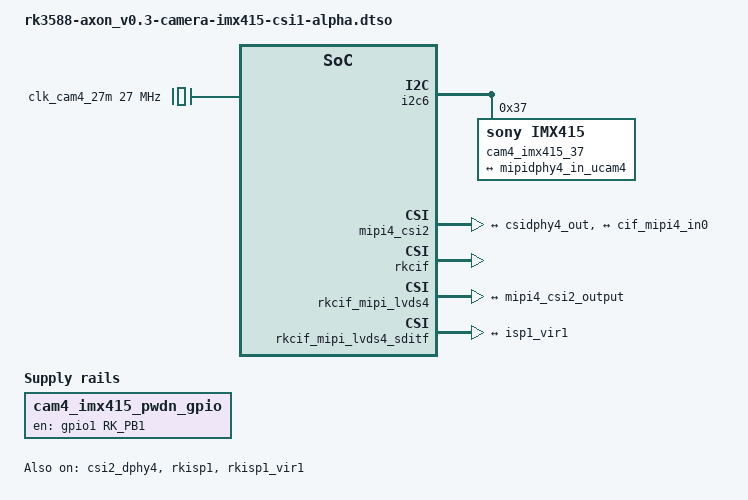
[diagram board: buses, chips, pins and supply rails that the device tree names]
// SPDX-License-Identifier: GPL-2.0+
// Copyright (C) 2026 Vicharak Computers PVT LTD

/dts-v1/;
/plugin/;

#include <dt-bindings/gpio/gpio.h>
#include <dt-bindings/pinctrl/rockchip.h>

&{/} {
	metadata {
		title = "Enable 8.3MP Camera (IMX415) on CSI1 Alpha Axon V0.3";
		compatible = "vicharak,rk3588-axon", "rockchip,rk3588";
		category = "camera";
		exclusive = "cam4", "imx415_6_37", "csi2_dphy4", "mipi4_csi2", \
			    "rkcif_mipi_lvds4", "rkcif_mipi_lvds4_sditf", \
			    "rkisp1_vir1";
		description = "Enables IMX415 based 8.3MP Camera on
\t\tVicharak Axon at I2C 6 bus address 37 on dphy4";
	};

	cam4_imx415_pwdn_gpio: cam4-pwdn-gpio {
		status = "okay";
		compatible = "regulator-fixed";
		regulator-name = "cam4_pwdn_gpio";
		regulator-always-on;
		regulator-boot-on;
		enable-active-high;
		gpio = <&gpio1 RK_PB1 GPIO_ACTIVE_HIGH>;
		pinctrl-names = "default";
		pinctrl-0 = <&cam4_pwdn_gpio>;
	};

	clk_cam4_27m: external-cam4-clock-27m {
		status = "okay";
		compatible = "fixed-clock";
		clock-frequency = <27000000>;
		clock-output-names = "clk_cam4_27m";
		#clock-cells = <0>;
	};
};

&i2c6 {
	status = "okay";
	#address-cells = <1>;
	#size-cells = <0>;
	
	cam4_imx415_37: cam4-imx415@37 {
		status = "okay";
		compatible = "sony,imx415";
		reg = <0x37>;

		clocks = <&clk_cam4_27m>;
		clock-names = "xvclk";

		rockchip,camera-module-index = <4>;
		rockchip,camera-module-facing = "front";
		rockchip,camera-module-name = "default";
		rockchip,camera-module-lens-name = "default";

		port {
			cam4_imx415_out0: endpoint {
				remote-endpoint = <&mipidphy4_in_ucam4>;
				data-lanes = <1 2>;
			};
		};
	};
};

&csi2_dphy4 {
	status = "okay";

	ports {
		#address-cells = <1>;
		#size-cells = <0>;

		port@0 {
			reg = <0>;
			#address-cells = <1>;
			#size-cells = <0>;

			mipidphy4_in_ucam4: endpoint@1 {
				reg = <1>;
				remote-endpoint = <&cam4_imx415_out0>;
				data-lanes = <1 2>;
			};
		};

		port@1 {
			reg = <1>;
			#address-cells = <1>;
			#size-cells = <0>;

			csidphy4_out: endpoint@0 {
				reg = <0>;
				remote-endpoint = <&mipi4_csi2_input>;
			};
		};
	};
};

&mipi4_csi2 {
	status = "okay";

	ports {
		#address-cells = <1>;
		#size-cells = <0>;

		port@0 {
			reg = <0>;
			#address-cells = <1>;
			#size-cells = <0>;

			mipi4_csi2_input: endpoint@1 {
				reg = <1>;
				remote-endpoint = <&csidphy4_out>;
			};
		};

		port@1 {
			reg = <1>;
			#address-cells = <1>;
			#size-cells = <0>;

			mipi4_csi2_output: endpoint@0 {
				reg = <0>;
				remote-endpoint = <&cif_mipi4_in0>;
			};
		};
	};
};

&rkcif {
	status = "okay";
};

&rkcif_mipi_lvds4 {
	status = "okay";

	port {
		cif_mipi4_in0: endpoint {
			remote-endpoint = <&mipi4_csi2_output>;
		};
	};
};

&rkcif_mipi_lvds4_sditf {
	status = "okay";

	port {
		mipi_lvds4_sditf: endpoint {
			remote-endpoint = <&isp1_vir1>;
		};
	};
};

&rkcif_mmu {
	status = "okay";
};

&rkisp1 {
	status = "okay";
};

&isp1_mmu {
	status = "okay";
};

&rkisp1_vir1 {
	status = "okay";

	port {
		#address-cells = <1>;
		#size-cells = <0>;

		isp1_vir1: endpoint@0 {
			reg = <0>;
			remote-endpoint = <&mipi_lvds4_sditf>;
		};
	};
};

&pinctrl {
	camera {
		cam4_pwdn_gpio: cam4-pwdn-gpio {
			rockchip,pins = <1 RK_PB1 RK_FUNC_GPIO &pcfg_pull_up>;
		};
	};
};
